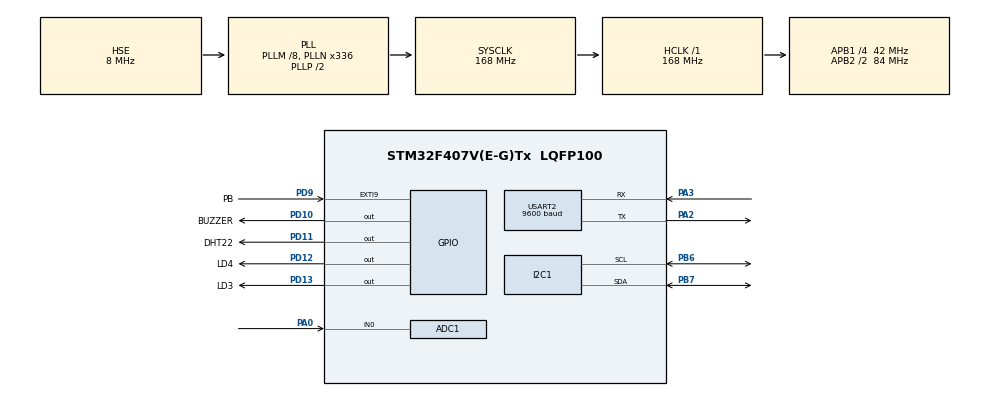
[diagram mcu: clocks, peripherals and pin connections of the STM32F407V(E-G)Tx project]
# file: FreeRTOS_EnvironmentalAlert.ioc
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ADC1.Channel-0\#ChannelRegularConversion=ADC_CHANNEL_0
ADC1.NbrOfConversionFlag=1
ADC1.Rank-0\#ChannelRegularConversion=1
ADC1.SamplingTime-0\#ChannelRegularConversion=ADC_SAMPLETIME_3CYCLES
ADC1.master=1
FREERTOS.Tasks01=defaultTask,24,128,StartDefaultTask,Default,NULL,Dynamic,NULL,NULL
Mcu.Family=STM32F4
Mcu.Name=STM32F407V(E-G)Tx
Mcu.Package=LQFP100
NVIC.ADC_IRQn=true\:5\:0\:false\:false\:true\:true\:true\:true\:true
NVIC.PriorityGroup=NVIC_PRIORITYGROUP_4
PA0-WKUP.Signal=ADCx_IN0
PA13.Mode=Serial_Wire
PA13.Signal=SYS_JTMS-SWDIO
PA14.Mode=Serial_Wire
PA14.Signal=SYS_JTCK-SWCLK
PA2.Mode=Asynchronous
PA2.Signal=USART2_TX
PA3.Mode=Asynchronous
PA3.Signal=USART2_RX
PB6.Mode=I2C
PB6.Signal=I2C1_SCL
PB7.Mode=I2C
PB7.Signal=I2C1_SDA
PD10.GPIO_Label=BUZZER
PD10.Signal=GPIO_Output
PD11.GPIO_Label=DHT22
PD11.GPIO_ModeDefaultOutputPP=GPIO_MODE_OUTPUT_OD
PD11.GPIO_PuPd=GPIO_NOPULL
PD11.GPIO_Speed=GPIO_SPEED_FREQ_VERY_HIGH
PD11.Signal=GPIO_Output
PD12.GPIO_Label=LD4
PD12.Signal=GPIO_Output
PD13.GPIO_Label=LD3
PD13.Signal=GPIO_Output
PD9.GPIO_Label=PB
PD9.GPIO_ModeDefaultEXTI=GPIO_MODE_IT_FALLING
PD9.GPIO_PuPd=GPIO_PULLUP
PD9.Signal=GPXTI9
PH0-OSC_IN.Mode=HSE-External-Oscillator
PH0-OSC_IN.Signal=RCC_OSC_IN
PH1-OSC_OUT.Mode=HSE-External-Oscillator
PH1-OSC_OUT.Signal=RCC_OSC_OUT
ProjectManager.HeapSize=0x200
ProjectManager.StackSize=0x400
ProjectManager.TargetToolchain=STM32CubeIDE
RCC.48MHZClocksFreq_Value=84000000
RCC.AHBFreq_Value=168000000
RCC.APB1CLKDivider=RCC_HCLK_DIV4
RCC.APB1Freq_Value=42000000
RCC.APB1TimFreq_Value=84000000
RCC.APB2CLKDivider=RCC_HCLK_DIV2
RCC.APB2Freq_Value=84000000
RCC.APB2TimFreq_Value=168000000
RCC.CortexFreq_Value=168000000
RCC.HCLKFreq_Value=168000000
RCC.HSE_VALUE=8000000
RCC.HSI_VALUE=16000000
RCC.LSE_VALUE=32768
RCC.PLLM=8
RCC.PLLN=336
RCC.PLLSourceVirtual=RCC_PLLSOURCE_HSE
RCC.SYSCLKFreq_VALUE=168000000
RCC.SYSCLKSource=RCC_SYSCLKSOURCE_PLLCLK
RCC.VCOOutputFreq_Value=336000000
SH.ADCx_IN0.0=ADC1_IN0,IN0
TIM3.Period=0xFFFF
TIM3.Prescaler=83
USART2.BaudRate=9600
USART2.VirtualMode=VM_ASYNC
VP_FREERTOS_VS_CMSIS_V2.Mode=CMSIS_V2
VP_TIM3_VS_ClockSourceINT.Mode=Internal
board=custom

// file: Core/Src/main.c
/* USER CODE BEGIN Header */
/**
  ******************************************************************************
  * @file           : main.c
  * @brief          : Main program body
  ******************************************************************************
  * @attention
  *
  * Copyright (c) 2025 STMicroelectronics.
  * All rights reserved.
  *
  * This software is licensed under terms that can be found in the LICENSE file
  * in the root directory of this software component.
  * If no LICENSE file comes with this software, it is provided AS-IS.
  *
  ******************************************************************************
  */
/* USER CODE END Header */
#include "main.h"
#include "cmsis_os.h"

/* USER CODE BEGIN Includes */
#include "stdio.h"
#include"dht22.h"
#include "bmp280.h"
#include "mq2.h"
#include <string.h>
#include "sensor_task.h"
#include "processing_task.h"
#include "rtos_objects.h"
#include "alert_task.h"

/* USER CODE END Includes */

/* USER CODE BEGIN PD */
extern TIM_HandleTypeDef htim3;
extern I2C_HandleTypeDef hi2c1;
/* USER CODE END PD */

ADC_HandleTypeDef hadc1;

I2C_HandleTypeDef hi2c1;

TIM_HandleTypeDef htim3;

UART_HandleTypeDef huart2;

/* Definitions for defaultTask */
osThreadId_t defaultTaskHandle;
const osThreadAttr_t defaultTask_attributes = {
  .name = "defaultTask",
  .stack_size = 128 * 4,
  .priority = (osPriority_t) osPriorityNormal,
};
/* USER CODE BEGIN PV */
uint8_t rxData;
/* USER CODE END PV */

void SystemClock_Config(void);
static void MX_GPIO_Init(void);
static void MX_TIM3_Init(void);
static void MX_I2C1_Init(void);
static void MX_ADC1_Init(void);
static void MX_USART2_UART_Init(void);
void StartDefaultTask(void *argument);

int main(void)
{

  /* MCU Configuration--------------------------------------------------------*/

  /* Reset of all peripherals, Initializes the Flash interface and the Systick. */
  HAL_Init();

  /* Configure the system clock */
  SystemClock_Config();

  /* Initialize all configured peripherals */
  MX_GPIO_Init();
  MX_TIM3_Init();
  MX_I2C1_Init();
  MX_ADC1_Init();
  MX_USART2_UART_Init();
  /* USER CODE BEGIN 2 */

  DHT22_Init();
  BMP280_Init();
  HAL_Delay(100);

  MQ2_Ro = MQ2_Calibrate();

  //Clear any pending interrupt for PUSHBUTTON as it will only be used when alert task is active.
  __HAL_GPIO_EXTI_CLEAR_IT(GPIO_PIN_9);
  HAL_NVIC_ClearPendingIRQ(EXTI9_5_IRQn);

  HAL_NVIC_SetPriority(EXTI9_5_IRQn, 5, 0);
  HAL_NVIC_EnableIRQ(EXTI9_5_IRQn);
  SEGGER_SYSVIEW_Conf();
  SEGGER_SYSVIEW_Start();

  /* USER CODE END 2 */

  /* Init scheduler */
  osKernelInitialize();

  /* USER CODE BEGIN RTOS_MUTEX */
  /* add mutexes, ... */
  MX_FREERTOS_Init();    // it calls all the tasks in rtosobjects.c file
  /* USER CODE END RTOS_MUTEX */

  /* Create the thread(s) */
  /* creation of defaultTask */
  //defaultTaskHandle = osThreadNew(StartDefaultTask, NULL, &defaultTask_attributes);

  /* Start scheduler */
  osKernelStart();

  /* We should never get here as control is now taken by the scheduler */

  /* Infinite loop */
  while (1)
  {

    /* USER CODE BEGIN 3 */
	/*  HAL_Delay(2000);
	  HAL_GPIO_TogglePin(LD4_GPIO_Port, LD4_Pin);
	  float temp_c, hum,bmp_temp,bmp_press;
	  char buffer[128];
	  if (DHT22_Read(&temp_c, &hum)) {
		  printf("Temp = %.1f C, RH = %.1f %%\r\n", temp_c, hum);

	  } else {

		  printf("Error Reading!\n");
	  }
	  if (BMP280_Read(&bmp_temp, &bmp_press)) {
	      printf("BMP Temp = %.1f C, Press = %.1f hPa\r\n", bmp_temp, bmp_press);
	  } else {
	      printf("BMP Error Reading!\n");
	  }
	  int lpg_ppm = MQ2_GetPPM(MQ2_LPG);
	  int smoke_ppm = MQ2_GetPPM(MQ2_SMOKE);

	  // Use results (example: LED on PA5 if smoke >1000 PPM)
	  if (smoke_ppm > 1000) {
	      HAL_GPIO_WritePin(GPIOA, GPIO_PIN_5, GPIO_PIN_SET);  // LED on
	  } else {
	      HAL_GPIO_WritePin(GPIOA, GPIO_PIN_5, GPIO_PIN_RESET);
	  }
	  printf("ADC:%hu LPG:%d Smoke:%d PPM\r\n", MQ2_ADC_Raw, lpg_ppm, smoke_ppm);
	  sprintf(buffer,"\nTemp = %.1f C, RH = %.1f %%,\nBMP Temp = %.1f C, Press = %.1f hPa, \nLPG:%d Smoke:%d PPM \n",
			  temp_c,hum,bmp_temp,bmp_press,lpg_ppm,smoke_ppm);
	  printf("\n-----------%s     %d-------------",buffer,strlen(buffer));
	  HAL_UART_Transmit(&huart2, (uint8_t *)buffer, strlen(buffer), 2000);*/
  }

  /* USER CODE END 3 */
}

void SystemClock_Config(void)
{
  RCC_OscInitTypeDef RCC_OscInitStruct = {0};
  RCC_ClkInitTypeDef RCC_ClkInitStruct = {0};

  /** Configure the main internal regulator output voltage
  */
  __HAL_RCC_PWR_CLK_ENABLE();
  __HAL_PWR_VOLTAGESCALING_CONFIG(PWR_REGULATOR_VOLTAGE_SCALE1);

  /** Initializes the RCC Oscillators according to the specified parameters
  * in the RCC_OscInitTypeDef structure.
  */
  RCC_OscInitStruct.OscillatorType = RCC_OSCILLATORTYPE_HSE;
  RCC_OscInitStruct.HSEState = RCC_HSE_ON;
  RCC_OscInitStruct.PLL.PLLState = RCC_PLL_ON;
  RCC_OscInitStruct.PLL.PLLSource = RCC_PLLSOURCE_HSE;
  RCC_OscInitStruct.PLL.PLLM = 8;
  RCC_OscInitStruct.PLL.PLLN = 336;
  RCC_OscInitStruct.PLL.PLLP = RCC_PLLP_DIV2;
  RCC_OscInitStruct.PLL.PLLQ = 4;
  if (HAL_RCC_OscConfig(&RCC_OscInitStruct) != HAL_OK)
  {
    Error_Handler();
  }

  /** Initializes the CPU, AHB and APB buses clocks
  */
  RCC_ClkInitStruct.ClockType = RCC_CLOCKTYPE_HCLK|RCC_CLOCKTYPE_SYSCLK
                              |RCC_CLOCKTYPE_PCLK1|RCC_CLOCKTYPE_PCLK2;
  RCC_ClkInitStruct.SYSCLKSource = RCC_SYSCLKSOURCE_PLLCLK;
  RCC_ClkInitStruct.AHBCLKDivider = RCC_SYSCLK_DIV1;
  RCC_ClkInitStruct.APB1CLKDivider = RCC_HCLK_DIV4;
  RCC_ClkInitStruct.APB2CLKDivider = RCC_HCLK_DIV2;

  if (HAL_RCC_ClockConfig(&RCC_ClkInitStruct, FLASH_LATENCY_5) != HAL_OK)
  {
    Error_Handler();
  }
}

static void MX_ADC1_Init(void)
{

  ADC_ChannelConfTypeDef sConfig = {0};

  /** Configure the global features of the ADC (Clock, Resolution, Data Alignment and number of conversion)
  */
  hadc1.Instance = ADC1;
  hadc1.Init.ClockPrescaler = ADC_CLOCK_SYNC_PCLK_DIV4;
  hadc1.Init.Resolution = ADC_RESOLUTION_12B;
  hadc1.Init.ScanConvMode = DISABLE;
  hadc1.Init.ContinuousConvMode = DISABLE;
  hadc1.Init.DiscontinuousConvMode = DISABLE;
  hadc1.Init.ExternalTrigConvEdge = ADC_EXTERNALTRIGCONVEDGE_NONE;
  hadc1.Init.ExternalTrigConv = ADC_SOFTWARE_START;
  hadc1.Init.DataAlign = ADC_DATAALIGN_RIGHT;
  hadc1.Init.NbrOfConversion = 1;
  hadc1.Init.DMAContinuousRequests = DISABLE;
  hadc1.Init.EOCSelection = ADC_EOC_SINGLE_CONV;
  if (HAL_ADC_Init(&hadc1) != HAL_OK)
  {
    Error_Handler();
  }

  /** Configure for the selected ADC regular channel its corresponding rank in the sequencer and its sample time.
  */
  sConfig.Channel = ADC_CHANNEL_0;
  sConfig.Rank = 1;
  sConfig.SamplingTime = ADC_SAMPLETIME_3CYCLES;
  if (HAL_ADC_ConfigChannel(&hadc1, &sConfig) != HAL_OK)
  {
    Error_Handler();
  }

}

static void MX_I2C1_Init(void)
{

  hi2c1.Instance = I2C1;
  hi2c1.Init.ClockSpeed = 100000;
  hi2c1.Init.DutyCycle = I2C_DUTYCYCLE_2;
  hi2c1.Init.OwnAddress1 = 0;
  hi2c1.Init.AddressingMode = I2C_ADDRESSINGMODE_7BIT;
  hi2c1.Init.DualAddressMode = I2C_DUALADDRESS_DISABLE;
  hi2c1.Init.OwnAddress2 = 0;
  hi2c1.Init.GeneralCallMode = I2C_GENERALCALL_DISABLE;
  hi2c1.Init.NoStretchMode = I2C_NOSTRETCH_DISABLE;
  if (HAL_I2C_Init(&hi2c1) != HAL_OK)
  {
    Error_Handler();
  }

}

static void MX_TIM3_Init(void)
{

  TIM_ClockConfigTypeDef sClockSourceConfig = {0};
  TIM_MasterConfigTypeDef sMasterConfig = {0};

  htim3.Instance = TIM3;
  htim3.Init.Prescaler = 83;
  htim3.Init.CounterMode = TIM_COUNTERMODE_UP;
  htim3.Init.Period = 0xFFFF;
  htim3.Init.ClockDivision = TIM_CLOCKDIVISION_DIV1;
  htim3.Init.AutoReloadPreload = TIM_AUTORELOAD_PRELOAD_DISABLE;
  if (HAL_TIM_Base_Init(&htim3) != HAL_OK)
  {
    Error_Handler();
  }
  sClockSourceConfig.ClockSource = TIM_CLOCKSOURCE_INTERNAL;
  if (HAL_TIM_ConfigClockSource(&htim3, &sClockSourceConfig) != HAL_OK)
  {
    Error_Handler();
  }
  sMasterConfig.MasterOutputTrigger = TIM_TRGO_RESET;
  sMasterConfig.MasterSlaveMode = TIM_MASTERSLAVEMODE_DISABLE;
  if (HAL_TIMEx_MasterConfigSynchronization(&htim3, &sMasterConfig) != HAL_OK)
  {
    Error_Handler();
  }

}

static void MX_USART2_UART_Init(void)
{

  huart2.Instance = USART2;
  huart2.Init.BaudRate = 9600;
  huart2.Init.WordLength = UART_WORDLENGTH_8B;
  huart2.Init.StopBits = UART_STOPBITS_1;
  huart2.Init.Parity = UART_PARITY_NONE;
  huart2.Init.Mode = UART_MODE_TX_RX;
  huart2.Init.HwFlowCtl = UART_HWCONTROL_NONE;
  huart2.Init.OverSampling = UART_OVERSAMPLING_16;
  if (HAL_UART_Init(&huart2) != HAL_OK)
  {
    Error_Handler();
  }

}

static void MX_GPIO_Init(void)
{
  GPIO_InitTypeDef GPIO_InitStruct = {0};
  /* USER CODE BEGIN MX_GPIO_Init_1 */
  __HAL_RCC_I2C1_CLK_ENABLE();
  /* USER CODE END MX_GPIO_Init_1 */

  /* GPIO Ports Clock Enable */
  __HAL_RCC_GPIOH_CLK_ENABLE();
  __HAL_RCC_GPIOA_CLK_ENABLE();
  __HAL_RCC_GPIOD_CLK_ENABLE();
  __HAL_RCC_GPIOB_CLK_ENABLE();

  /*Configure GPIO pin Output Level */
  HAL_GPIO_WritePin(GPIOD, BUZZER_Pin|DHT22_Pin|LD4_Pin|LD3_Pin, GPIO_PIN_RESET);

  /*Configure GPIO pin : PB_Pin */
  GPIO_InitStruct.Pin = PB_Pin;
  GPIO_InitStruct.Mode = GPIO_MODE_IT_FALLING;
  GPIO_InitStruct.Pull = GPIO_PULLUP;
  HAL_GPIO_Init(PB_GPIO_Port, &GPIO_InitStruct);

  /*Configure GPIO pins : BUZZER_Pin LD4_Pin LD3_Pin */
  GPIO_InitStruct.Pin = BUZZER_Pin|LD4_Pin|LD3_Pin;
  GPIO_InitStruct.Mode = GPIO_MODE_OUTPUT_PP;
  GPIO_InitStruct.Pull = GPIO_NOPULL;
  GPIO_InitStruct.Speed = GPIO_SPEED_FREQ_LOW;
  HAL_GPIO_Init(GPIOD, &GPIO_InitStruct);

  /*Configure GPIO pin : DHT22_Pin */
  GPIO_InitStruct.Pin = DHT22_Pin;
  GPIO_InitStruct.Mode = GPIO_MODE_OUTPUT_OD;
  GPIO_InitStruct.Pull = GPIO_NOPULL;
  GPIO_InitStruct.Speed = GPIO_SPEED_FREQ_VERY_HIGH;
  HAL_GPIO_Init(DHT22_GPIO_Port, &GPIO_InitStruct);

  /* USER CODE BEGIN MX_GPIO_Init_2 */
  GPIO_InitStruct.Pin = GPIO_PIN_6|GPIO_PIN_7;
  GPIO_InitStruct.Mode = GPIO_MODE_AF_OD;
  GPIO_InitStruct.Pull = GPIO_NOPULL;
  GPIO_InitStruct.Speed = GPIO_SPEED_FREQ_VERY_HIGH;
  GPIO_InitStruct.Alternate = GPIO_AF4_I2C1;
  HAL_GPIO_Init(GPIOB, &GPIO_InitStruct);

  GPIO_InitStruct.Pin = GPIO_PIN_9 | GPIO_PIN_10;
  GPIO_InitStruct.Mode = GPIO_MODE_AF_PP;
  GPIO_InitStruct.Pull = GPIO_PULLUP;
  GPIO_InitStruct.Speed = GPIO_SPEED_FREQ_VERY_HIGH;
  GPIO_InitStruct.Alternate = GPIO_AF7_USART1;
  HAL_GPIO_Init(GPIOA, &GPIO_InitStruct);

  /* USART2 GPIO Configuration
     PA2 -> USART2_TX
     PA3 -> USART2_RX
  */
  GPIO_InitStruct.Pin = GPIO_PIN_2 | GPIO_PIN_3;
  GPIO_InitStruct.Mode = GPIO_MODE_AF_PP;
  GPIO_InitStruct.Pull = GPIO_NOPULL;
  GPIO_InitStruct.Speed = GPIO_SPEED_FREQ_VERY_HIGH;
  GPIO_InitStruct.Alternate = GPIO_AF7_USART2;
  HAL_GPIO_Init(GPIOA, &GPIO_InitStruct);

  HAL_NVIC_SetPriority(EXTI9_5_IRQn, 5, 0);
  HAL_NVIC_EnableIRQ(EXTI9_5_IRQn);

  /* USER CODE END MX_GPIO_Init_2 */
}

void StartDefaultTask(void *argument)
{
  for(;;)
  {
    osDelay(1);
  }
}

void Error_Handler(void)
{
  __disable_irq();
  while (1)
  {
  }
}
